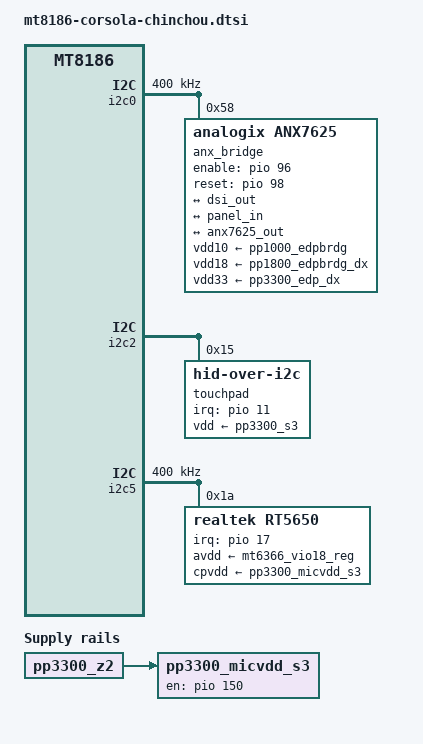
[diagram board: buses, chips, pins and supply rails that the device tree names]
// SPDX-License-Identifier: (GPL-2.0 OR MIT)
/*
 * Copyright 2023 Google LLC
 */

/dts-v1/;
#include "mt8186-corsola.dtsi"
#include "mt8186-corsola-it6505.dtsi"

/ {
	pp3300_micvdd_s3: regulator-pp3300_micvdd_s3 {
		compatible = "regulator-fixed";
		regulator-name = "pp3300_micvdd_s3";
		pinctrl-names = "default";
		pinctrl-0 = <&rt1019p_pins_default>;
		enable-active-high;
		gpio = <&pio 150 GPIO_ACTIVE_HIGH>;
		vin-supply = <&pp3300_z2>;
	};
};

&dsi_out {
	remote-endpoint = <&anx7625_in>;
};

&i2c0 {
	clock-frequency = <400000>;

	anx_bridge: anx7625@58 {
		compatible = "analogix,anx7625";
		reg = <0x58>;
		pinctrl-names = "default";
		pinctrl-0 = <&anx7625_pins>;
		panel_flags = <1>;
		enable-gpios = <&pio 96 GPIO_ACTIVE_HIGH>;
		reset-gpios = <&pio 98 GPIO_ACTIVE_HIGH>;
		vdd10-supply = <&pp1000_edpbrdg>;
		vdd18-supply = <&pp1800_edpbrdg_dx>;
		vdd33-supply = <&pp3300_edp_dx>;
		#address-cells = <1>;
		#size-cells = <0>;
		analogix,lane0-swing = /bits/ 8 <0x70 0x30>;
		analogix,lane1-swing = /bits/ 8 <0x70 0x30>;

		port@0 {
			reg = <0>;

			anx7625_in: endpoint {
				remote-endpoint = <&dsi_out>;
				data-lanes = <0 1 2 3>;
			};
		};

		port@1 {
			reg = <1>;

			anx7625_out: endpoint {
				remote-endpoint = <&panel_in>;
			};
		};

		aux-bus {
			panel: panel {
				compatible = "auo,b116xw03";
				power-supply = <&pp3300_disp_x>;
				backlight = <&backlight_lcd0>;

				port {
					panel_in: endpoint {
						remote-endpoint = <&anx7625_out>;
					};
				};
			};
		};
	};
};

&i2c2 {
	touchpad@15 {
		compatible = "hid-over-i2c";
		reg = <0x15>;
		interrupt-parent = <&pio>;
		interrupts = <11 IRQ_TYPE_LEVEL_LOW>;
		pinctrl-names = "default";
		pinctrl-0 = <&trackpad_pins>;
		post-power-on-delay-ms = <10>;
		hid-descr-addr = <0x0001>;
		vdd-supply = <&pp3300_s3>;
	};
};

&i2c5 {
	clock-frequency = <400000>;

	rt5650: rt5650@1a {
		compatible = "realtek,rt5650";
		reg = <0x1a>;
		avdd-supply = <&mt6366_vio18_reg>;
		cpvdd-supply = <&pp3300_micvdd_s3>;
		interrupt-parent = <&pio>;
		interrupts = <17 IRQ_TYPE_EDGE_BOTH>;
		#sound-dai-cells = <0>;
		realtek,dmic1-data-pin = <2>;
		realtek,jd-mode = <2>;
	};
};

&mmc1_pins_default {
	pins-clk {
		drive-strength = <MTK_DRIVE_8mA>;
	};

	pins-cmd-dat {
		drive-strength = <MTK_DRIVE_8mA>;
	};
};

&mmc1_pins_uhs {
	pins-clk {
		drive-strength = <MTK_DRIVE_8mA>;
	};

	pins-cmd-dat {
		drive-strength = <MTK_DRIVE_8mA>;
	};
};

&dpi_pin_default {
	pins-cmd-dat {
		pinmux = <PINMUX_GPIO103__FUNC_GPIO103>,
				<PINMUX_GPIO104__FUNC_GPIO104>,
				<PINMUX_GPIO105__FUNC_GPIO105>,
				<PINMUX_GPIO106__FUNC_GPIO106>,
				<PINMUX_GPIO107__FUNC_GPIO107>,
				<PINMUX_GPIO108__FUNC_GPIO108>,
				<PINMUX_GPIO109__FUNC_GPIO109>,
				<PINMUX_GPIO110__FUNC_GPIO110>,
				<PINMUX_GPIO111__FUNC_GPIO111>,
				<PINMUX_GPIO112__FUNC_GPIO112>,
				<PINMUX_GPIO113__FUNC_GPIO113>,
				<PINMUX_GPIO114__FUNC_GPIO114>,
				<PINMUX_GPIO101__FUNC_GPIO101>,
				<PINMUX_GPIO100__FUNC_GPIO100>,
				<PINMUX_GPIO102__FUNC_GPIO102>,
				<PINMUX_GPIO99__FUNC_GPIO99>;
		drive-strength = <MTK_DRIVE_10mA>;
		output-low;
	};
};

&dpi_pin_func {
	pins-cmd-dat {
		pinmux = <PINMUX_GPIO103__FUNC_DPI_DATA0>,
				<PINMUX_GPIO104__FUNC_DPI_DATA1>,
				<PINMUX_GPIO105__FUNC_DPI_DATA2>,
				<PINMUX_GPIO106__FUNC_DPI_DATA3>,
				<PINMUX_GPIO107__FUNC_DPI_DATA4>,
				<PINMUX_GPIO108__FUNC_DPI_DATA5>,
				<PINMUX_GPIO109__FUNC_DPI_DATA6>,
				<PINMUX_GPIO110__FUNC_DPI_DATA7>,
				<PINMUX_GPIO111__FUNC_DPI_DATA8>,
				<PINMUX_GPIO112__FUNC_DPI_DATA9>,
				<PINMUX_GPIO113__FUNC_DPI_DATA10>,
				<PINMUX_GPIO114__FUNC_DPI_DATA11>,
				<PINMUX_GPIO101__FUNC_DPI_HSYNC>,
				<PINMUX_GPIO100__FUNC_DPI_VSYNC>,
				<PINMUX_GPIO102__FUNC_DPI_DE>,
				<PINMUX_GPIO99__FUNC_DPI_PCLK>;
		drive-strength = <MTK_DRIVE_10mA>;
	};
};

&sound {
	status = "okay";

	compatible = "mediatek,mt8186-mt6366-rt5650-sound";
	mediatek,adsp = <&adsp>;

	playback-codecs {
		sound-dai = <&it6505dptx>;
	};

	headset-codec {
		sound-dai = <&rt5650>;
	};
};

&wifi_pins_pwrseq {
	pins-wifi-enable {
		pinmux = <PINMUX_GPIO51__FUNC_GPIO51>;
	};
};

&wifi_pwrseq {
	reset-gpios = <&pio 51 GPIO_ACTIVE_LOW>;
};
